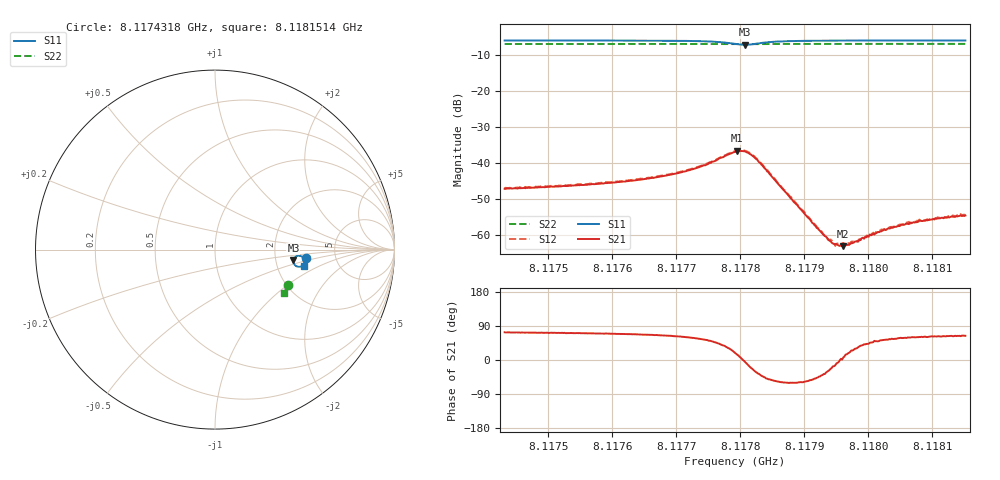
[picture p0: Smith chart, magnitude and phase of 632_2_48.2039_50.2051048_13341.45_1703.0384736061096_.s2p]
#  HZ  S  RI  R  50.00
! Rohde & Schwarz Vector Network Analyzer
! Rohde-Schwarz,ZNB20-2Port,1311601062101988,3.16
! Created: UTC 3/20/2024, 12:04:21 PM
! freq[Hz]  re:S11  im:S11  re:S21  im:S21  re:S12  im:S12  re:S22  im:S22
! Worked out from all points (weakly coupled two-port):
!   401 points, 8.1174318 GHz to 8.1181514 GHz, reference 50 ohm
!   highest |S21| = -36.56 dB at 8.1177952 GHz (marker M1); lowest = -63.1 dB at 8.1179607 GHz (marker M2)
!   lowest |S11| = -7.1 dB at 8.1178078 GHz (marker M3), VSWR 2.58, Z = 126 - j18.6 ohm
!   |S11| at or under -10 dB: nowhere
!   |S22| runs from -6.9 to -6.8 dB; largest |S21 - S12| = 0.00055
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8.11743178e9  0.5046 -0.0486  0.00127 0.00419  0.00134 0.00426  0.4074 -0.1969
8.11755232e9  0.5025 -0.0602  0.00164 0.00468  0.00169 0.00477  0.4039 -0.2046
8.11761529e9  0.5009 -0.0672  0.002 0.00513  0.00204 0.00523  0.4019 -0.2088
8.11767286e9  0.4978 -0.0753  0.00269 0.00584  0.00277 0.00599  0.4 -0.2125
8.11770885e9  0.4939 -0.0821  0.0036 0.00656  0.00366 0.00668  0.3988 -0.2149
8.11773224e9  0.4892 -0.0873  0.00468 0.00717  0.00481 0.0073  0.3978 -0.2166
8.11779161e9  0.4458 -0.0868  0.0135 0.00473  0.0138 0.00479  0.3942 -0.2195
8.11779521e9  0.4419 -0.0822  0.0144 0.00353  0.0145 0.00352  0.394 -0.2193
8.1178078e9  0.4371 -0.0597  0.0144 -0.00157  0.0146 -0.00169  0.3936 -0.2192
8.11781859e9  0.447 -0.042  0.0116 -0.00498  0.012 -0.00525  0.3939 -0.219
8.11783119e9  0.4646 -0.0342  0.00769 -0.00636  0.00781 -0.00653  0.3945 -0.2197
8.11786357e9  0.4902 -0.0439  0.00241 -0.00393  0.00245 -0.00404  0.3946 -0.2224
8.11791215e9  0.4986 -0.0589  0.000906 -0.00117  0.000931 -0.0012  0.3933 -0.2259
8.11793554e9  0.4997 -0.0639  0.000782 -0.000466  0.000759 -0.000471  0.3924 -0.2277
8.11794094e9  0.4997 -0.0649  0.000752 -0.00032  0.000792 -0.000349  0.3922 -0.2279
8.11795173e9  0.4999 -0.0668  0.000722 -9.7e-05  0.000753 -0.000124  0.392 -0.2288
8.11796073e9  0.5001 -0.0683  0.000693 8.15e-05  0.000766 0.000117  0.3917 -0.2292
8.11796792e9  0.5001 -0.0695  0.0007 0.000219  0.000724 0.000233  0.3914 -0.2298
8.1180165e9  0.5 -0.0759  0.000704 0.000837  0.000726 0.000896  0.3898 -0.2328
8.11803269e9  0.4999 -0.0779  0.000699 0.00101  0.00074 0.00104  0.3891 -0.2339
8.11807947e9  0.4995 -0.0829  0.000768 0.00137  0.000817 0.00141  0.3875 -0.2369
8.11815144e9  0.4985 -0.0897  0.00082 0.00167  0.000859 0.00171  0.385 -0.2413
